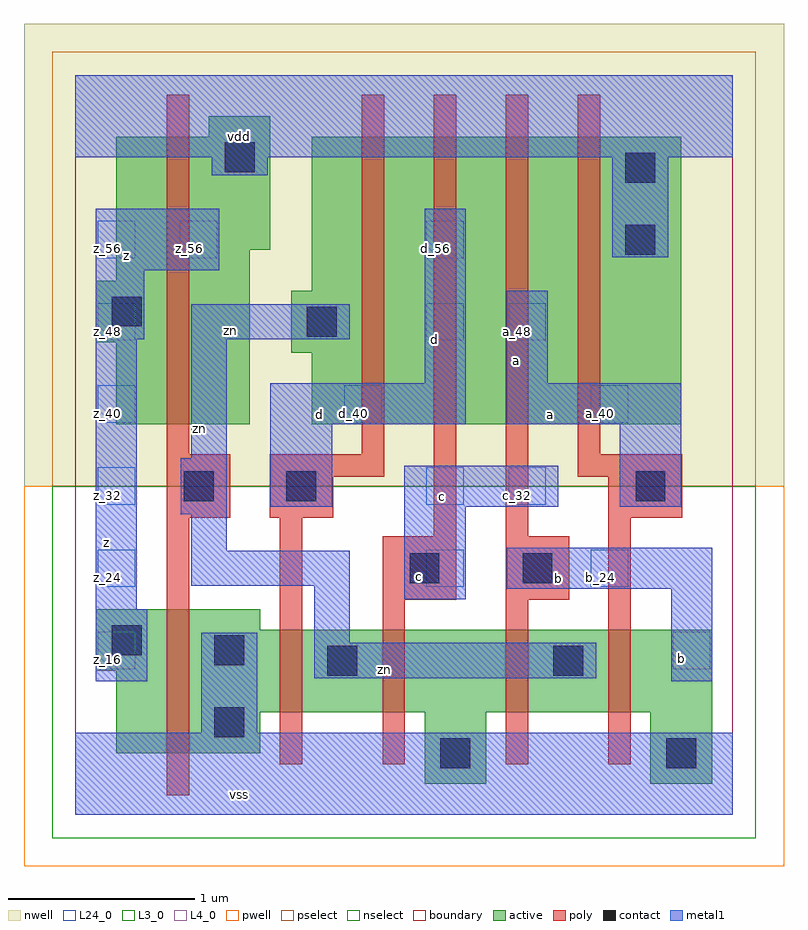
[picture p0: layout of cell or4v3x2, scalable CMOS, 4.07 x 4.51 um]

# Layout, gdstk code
import gdstk
lib = gdstk.Library(unit=1e-6, precision=2.5e-09)
def R(c, l, rs):  # rectangles x0, y0, x1, y1
    for r in rs: c.add(gdstk.rectangle(r[:2], r[2:], *l))
def A(c, l, x, y, w, h, nx, ny, dx, dy):  # array of equal rectangles
    R(c, l, [(x+i*dx, y+j*dy, x+i*dx+w, y+j*dy+h) for i in range(nx) for j in range(ny)])
L3_0 = (3, 0)
L4_0 = (4, 0)
L24_0 = (24, 0)
contact = (25, 0)
pwell = (41, 0)
nwell = (42, 0)
active = (43, 0)
pselect = (44, 0)
nselect = (45, 0)
poly = (46, 0)
metal1 = (49, 0)
boundary = (63, 0)

or4v3x2 = lib.new_cell('or4v3x2')
R(or4v3x2, L3_0, [(1.87,0.165,2.2,0.55), (3.08,0.165,3.41,0.55), (0.22,0.33,0.99,0.55), (0.22,0.55,3.41,0.77), (0.11,0.77,3.41,0.99), (0.11,0.99,0.99,1.1)])
R(or4v3x2, L4_0, [(0.22,2.09,0.935,2.53), (1.265,2.09,3.245,2.475), (1.155,2.475,3.245,2.805), (0.11,2.53,0.935,2.86), (1.265,2.805,3.245,3.63), (0.22,2.86,0.935,3.025), (0.22,3.025,1.045,3.63), (0.715,3.63,1.045,3.74)])
A(or4v3x2, L24_0, 0.12, 0.78, 0.2, 0.2, 1, 3, 0, 0.44)
A(or4v3x2, L24_0, 0.12, 2.1, 0.2, 0.2, 3, 1, 1.32, 0)
R(or4v3x2, L24_0, [(3.2,0.78,3.4,0.98), (1.88,1.22,2.08,1.42), (2.76,1.22,2.96,1.42), (1.88,1.66,2.08,1.86), (2.32,1.66,2.52,1.86), (0.12,2.54,0.32,2.74), (1.88,2.54,2.08,2.74), (2.32,2.54,2.52,2.74), (0.12,2.98,0.32,3.18), (0.56,2.98,0.76,3.18), (1.88,2.98,2.08,3.18)])
R(or4v3x2, contact, [(1.955,0.25,2.115,0.41), (3.165,0.25,3.325,0.41), (0.745,0.415,0.905,0.575), (1.35,0.745,1.51,0.905), (2.56,0.745,2.72,0.905), (0.745,0.8,0.905,0.96), (0.195,0.855,0.355,1.015), (1.79,1.24,1.95,1.4), (2.395,1.24,2.555,1.4), (0.58,1.68,0.74,1.84), (1.13,1.68,1.29,1.84), (3,1.68,3.16,1.84), (1.24,2.56,1.4,2.72), (0.195,2.615,0.355,2.775), (2.945,3,3.105,3.16), (2.945,3.385,3.105,3.545), (0.8,3.44,0.96,3.6)])
R(or4v3x2, pwell, [(-0.275,-0.275,3.795,1.76)])
R(or4v3x2, nwell, [(-0.275,1.76,3.795,4.235)])
R(or4v3x2, active, [(1.87,0.165,2.2,0.55), (3.08,0.165,3.41,0.55), (0.22,0.33,0.99,0.55), (0.22,0.55,3.41,0.77), (0.11,0.77,3.41,0.99), (0.11,0.99,0.99,1.1), (0.22,2.09,0.935,2.53), (1.265,2.09,3.245,2.475), (1.155,2.475,3.245,2.805), (0.11,2.53,0.935,2.86), (1.265,2.805,3.245,3.63), (0.22,2.86,0.935,3.025), (0.22,3.025,1.045,3.63), (0.715,3.63,1.045,3.74)])
R(or4v3x2, pselect, [(-0.125,1.76,3.645,4.085)])
R(or4v3x2, nselect, [(-0.125,-0.125,3.645,1.76)])
R(or4v3x2, poly, [(0.49,0.105,0.61,1.59), (1.095,0.27,1.215,1.59), (1.645,0.27,1.765,1.15), (2.305,0.27,2.425,1.15), (2.855,0.27,2.975,1.59), (1.645,1.15,2.04,1.49), (2.305,1.15,2.645,1.49), (1.92,1.49,2.04,3.855), (2.305,1.49,2.425,3.855), (0.49,1.59,0.83,1.93), (1.04,1.59,1.38,1.81), (2.855,1.59,3.25,1.81), (1.04,1.81,1.655,1.93), (2.69,1.81,3.25,1.93), (0.49,1.93,0.61,3.855), (1.535,1.93,1.655,3.855), (2.69,1.93,2.81,3.855)])
R(or4v3x2, metal1, [(0,0,3.52,0.44), (0.675,0.44,0.975,0.975), (0.11,0.715,0.385,1.1), (3.19,0.715,3.41,1.21), (1.28,0.73,2.79,0.92), (1.28,0.92,1.47,1.225), (0.11,1.1,0.33,2.545), (1.76,1.155,2.09,1.65), (2.31,1.21,3.41,1.43), (0.62,1.225,1.47,1.415), (0.62,1.415,0.81,1.61), (0.565,1.61,0.81,1.91), (1.045,1.65,1.375,2.09), (1.76,1.65,2.585,1.87), (2.915,1.65,3.245,2.09), (0.62,1.91,0.81,2.545), (1.045,2.09,2.09,2.31), (2.31,2.09,3.245,2.31), (1.87,2.31,2.09,3.245), (2.31,2.31,2.53,2.805), (0.11,2.545,0.37,2.915), (0.62,2.545,1.47,2.735), (0.11,2.915,0.77,3.245), (2.875,2.985,3.175,3.52), (0.73,3.425,1.03,3.52), (0,3.52,3.52,3.96)])
R(or4v3x2, boundary, [(0,0,3.52,3.96)])
or4v3x2.add(gdstk.Label('vss', (0.88,0.11), layer=49, texttype=0))
or4v3x2.add(gdstk.Label('b', (3.245,0.8375), layer=49, texttype=0))
or4v3x2.add(gdstk.Label('zn', (1.6575,0.7775), layer=49, texttype=0))
or4v3x2.add(gdstk.Label('b', (2.585,1.265), layer=49, texttype=0))
or4v3x2.add(gdstk.Label('c', (1.8425,1.2775), layer=49, texttype=0))
or4v3x2.add(gdstk.Label('c', (1.965,1.705), layer=49, texttype=0))
or4v3x2.add(gdstk.Label('a', (2.5425,2.145), layer=49, texttype=0))
or4v3x2.add(gdstk.Label('a', (2.365,2.4325), layer=49, texttype=0))
or4v3x2.add(gdstk.Label('d', (1.305,2.145), layer=49, texttype=0))
or4v3x2.add(gdstk.Label('d', (1.925,2.5425), layer=49, texttype=0))
or4v3x2.add(gdstk.Label('zn', (0.6675,2.0675), layer=49, texttype=0))
or4v3x2.add(gdstk.Label('z', (0.165,1.46), layer=49, texttype=0))
or4v3x2.add(gdstk.Label('zn', (0.8325,2.5925), layer=49, texttype=0))
or4v3x2.add(gdstk.Label('z', (0.275,2.9975), layer=49, texttype=0))
or4v3x2.add(gdstk.Label('vdd', (0.88,3.63), layer=49, texttype=0))
or4v3x2.add(gdstk.Label('z_56', (0.61,3.03), layer=24, texttype=0))
or4v3x2.add(gdstk.Label('d_40', (1.49,2.15), layer=24, texttype=0))
or4v3x2.add(gdstk.Label('c_24', (1.93,1.27), layer=24, texttype=0))
or4v3x2.add(gdstk.Label('c_32', (1.93,1.71), layer=24, texttype=0))
or4v3x2.add(gdstk.Label('d_48', (1.93,2.59), layer=24, texttype=0))
or4v3x2.add(gdstk.Label('d_56', (1.93,3.03), layer=24, texttype=0))
or4v3x2.add(gdstk.Label('z_16', (0.17,0.83), layer=24, texttype=0))
or4v3x2.add(gdstk.Label('z_24', (0.17,1.27), layer=24, texttype=0))
or4v3x2.add(gdstk.Label('z_32', (0.17,1.71), layer=24, texttype=0))
or4v3x2.add(gdstk.Label('z_40', (0.17,2.15), layer=24, texttype=0))
or4v3x2.add(gdstk.Label('z_48', (0.17,2.59), layer=24, texttype=0))
or4v3x2.add(gdstk.Label('z_56', (0.17,3.03), layer=24, texttype=0))
or4v3x2.add(gdstk.Label('c_32', (2.37,1.71), layer=24, texttype=0))
or4v3x2.add(gdstk.Label('a_48', (2.37,2.59), layer=24, texttype=0))
or4v3x2.add(gdstk.Label('b_24', (2.81,1.27), layer=24, texttype=0))
or4v3x2.add(gdstk.Label('a_40', (2.81,2.15), layer=24, texttype=0))
or4v3x2.add(gdstk.Label('b_16', (3.25,0.83), layer=24, texttype=0))

lib.write_gds('or4v3x2.gds')
